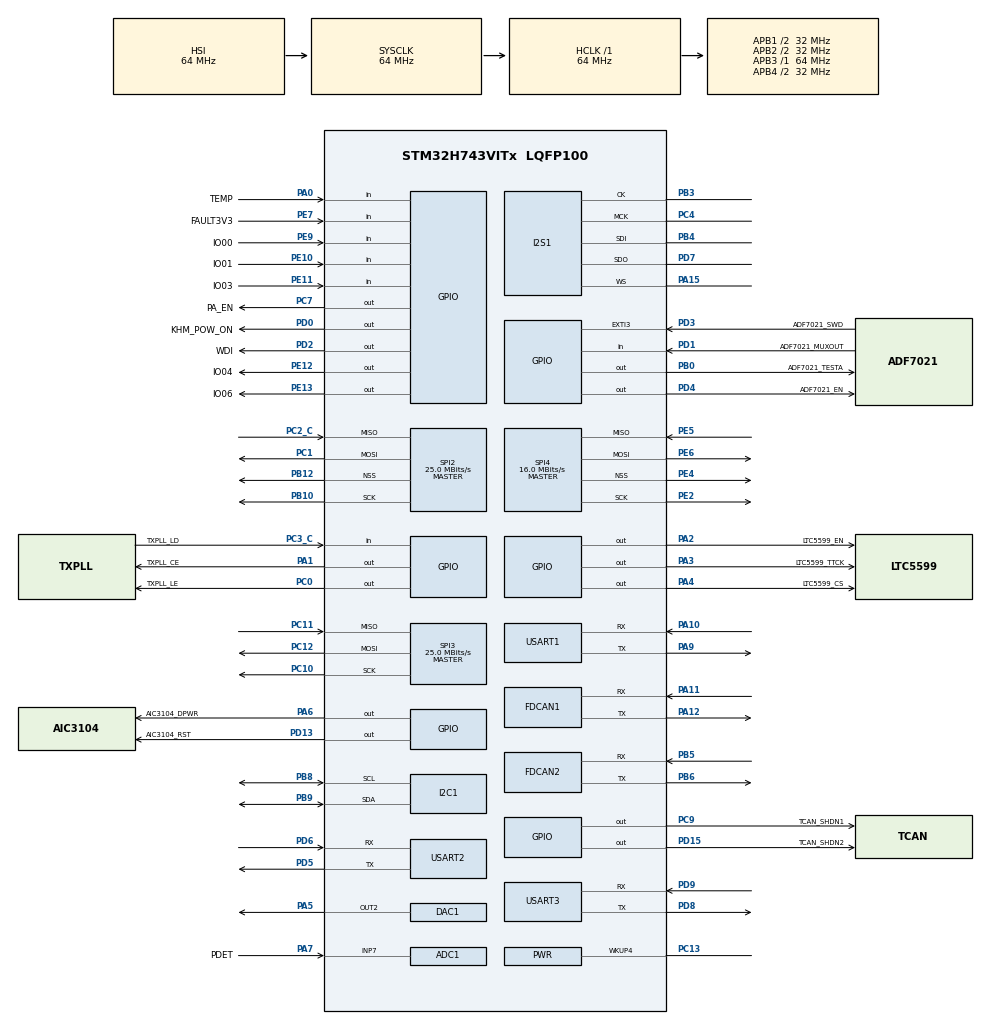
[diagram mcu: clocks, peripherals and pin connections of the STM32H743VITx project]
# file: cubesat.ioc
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ADC1.Channel-0\#ChannelRegularConversion=ADC_CHANNEL_7
ADC1.NbrOfConversionFlag=1
ADC1.OffsetNumber-0\#ChannelRegularConversion=ADC_OFFSET_NONE
ADC1.OffsetSignedSaturation-0\#ChannelRegularConversion=DISABLE
ADC1.Rank-0\#ChannelRegularConversion=1
ADC1.SamplingTime-0\#ChannelRegularConversion=ADC_SAMPLETIME_1CYCLE_5
ADC1.master=1
CORTEX_M7.default_mode_Activation=1
DAC1.DAC_Channel-DAC_OUT2=DAC_CHANNEL_2
FDCAN1.CalculateBaudRateNominal=1041666
FDCAN1.CalculateTimeBitNominal=960
FDCAN1.CalculateTimeQuantumNominal=320.0
FDCAN1.TxBuffersNbr=32
FDCAN2.CalculateBaudRateNominal=1041666
FDCAN2.CalculateTimeBitNominal=960
FDCAN2.CalculateTimeQuantumNominal=320.0
FDCAN2.MessageRAMOffset=128
FDCAN2.TxBuffersNbr=32
FREERTOS.Tasks01=defaultTask,0,128,StartDefaultTask,Default,NULL,Dynamic,NULL,NULL;watchdogTask,1,128,StartWatchdogTask,Default,NULL,Dynamic,NULL,NULL
I2C1.Timing=0x00707CBB
I2S1.AudioFreq=I2S_AUDIOFREQ_48K
I2S1.ErrorAudioFreq=1.72 %
I2S1.Instance=SPI$Index
I2S1.RealAudioFreq=48.828 KHz
Mcu.Family=STM32H7
Mcu.Name=STM32H743VITx
Mcu.Package=LQFP100
NVIC.PriorityGroup=NVIC_PRIORITYGROUP_4
NVIC.TIM1_UP_IRQn=true\:15\:0\:false\:false\:true\:false\:false\:true\:true
NVIC.TimeBase=TIM1_UP_IRQn
NVIC.TimeBaseIP=TIM1
PA0.GPIO_Label=TEMP
PA0.Signal=GPIO_Input
PA1.GPIO_Label=TXPLL_CE
PA1.PinState=GPIO_PIN_SET
PA1.Signal=GPIO_Output
PA10.Mode=Asynchronous
PA10.Signal=USART1_RX
PA11.Mode=FDCAN_Activate
PA11.Signal=FDCAN1_RX
PA12.Mode=FDCAN_Activate
PA12.Signal=FDCAN1_TX
PA13\ (JTMS/SWDIO).Mode=Serial_Wire
PA13\ (JTMS/SWDIO).Signal=DEBUG_JTMS-SWDIO
PA14\ (JTCK/SWCLK).Mode=Serial_Wire
PA14\ (JTCK/SWCLK).Signal=DEBUG_JTCK-SWCLK
PA15\ (JTDI).Mode=Full_Duplex_Master
PA15\ (JTDI).Signal=I2S1_WS
PA2.GPIO_Label=LTC5599_EN
PA2.PinState=GPIO_PIN_SET
PA2.Signal=GPIO_Output
PA3.GPIO_Label=LTC5599_TTCK
PA3.GPIO_Speed=GPIO_SPEED_FREQ_LOW
PA3.PinState=GPIO_PIN_SET
PA3.Signal=GPIO_Output
PA4.GPIO_Label=LTC5599_CS
PA4.PinState=GPIO_PIN_SET
PA4.Signal=GPIO_Output
PA5.Signal=COMP_DAC12_group
PA6.GPIO_Label=AIC3104_DPWR
PA6.PinState=GPIO_PIN_SET
PA6.Signal=GPIO_Output
PA7.GPIO_Label=PDET
PA7.Signal=ADCx_INP7
PA9.Mode=Asynchronous
PA9.Signal=USART1_TX
PB0.GPIO_Label=ADF7021_TESTA
PB0.GPIO_Speed=GPIO_SPEED_FREQ_LOW
PB0.PinState=GPIO_PIN_SET
PB0.Signal=GPIO_Output
PB10.Mode=Full_Duplex_Master
PB10.Signal=SPI2_SCK
PB12.Mode=NSS_Signal_Hard_Output
PB12.Signal=SPI2_NSS
PB3\ (JTDO/TRACESWO).Mode=Full_Duplex_Master
PB3\ (JTDO/TRACESWO).Signal=I2S1_CK
PB4\ (NJTRST).Mode=Full_Duplex_Master
PB4\ (NJTRST).Signal=I2S1_SDI
PB5.Mode=FDCAN_Activate
PB5.Signal=FDCAN2_RX
PB6.Mode=FDCAN_Activate
PB6.Signal=FDCAN2_TX
PB8.Mode=I2C
PB8.Signal=I2C1_SCL
PB9.Mode=I2C
PB9.Signal=I2C1_SDA
PC0.GPIO_Label=TXPLL_LE
PC0.Signal=GPIO_Output
PC1.Mode=Full_Duplex_Master
PC1.Signal=SPI2_MOSI
PC10.Mode=Full_Duplex_Master
PC10.Signal=SPI3_SCK
PC11.Mode=Full_Duplex_Master
PC11.Signal=SPI3_MISO
PC12.Mode=Full_Duplex_Master
PC12.Signal=SPI3_MOSI
PC13.Mode=WakeUp4
PC13.Signal=PWR_WKUP4
PC14-OSC32_IN\ (OSC32_IN).Mode=LSE-External-Clock-Source
PC14-OSC32_IN\ (OSC32_IN).Signal=RCC_OSC32_IN
PC2_C.Mode=Full_Duplex_Master
PC2_C.Signal=SPI2_MISO
PC3_C.GPIO_Label=TXPLL_LD
PC3_C.Signal=GPIO_Input
PC4.Mode=Master_Clock_Activated
PC4.Signal=I2S1_MCK
PC7.GPIO_Label=PA_EN
PC7.PinState=GPIO_PIN_SET
PC7.Signal=GPIO_Output
PC9.GPIO_Label=TCAN_SHDN1
PC9.PinState=GPIO_PIN_SET
PC9.Signal=GPIO_Output
PD0.GPIO_Label=KHM_POW_ON
PD0.PinState=GPIO_PIN_SET
PD0.Signal=GPIO_Output
PD1.GPIO_Label=ADF7021_MUXOUT
PD1.Signal=GPIO_Input
PD13.GPIO_Label=AIC3104_RST
PD13.PinState=GPIO_PIN_SET
PD13.Signal=GPIO_Output
PD15.GPIO_Label=TCAN_SHDN2
PD15.PinState=GPIO_PIN_SET
PD15.Signal=GPIO_Output
PD2.GPIO_Label=WDI
PD2.Signal=GPIO_Output
PD3.GPIO_Label=ADF7021_SWD
PD3.Signal=GPXTI3
PD4.GPIO_Label=ADF7021_EN
PD4.Signal=GPIO_Output
PD5.Mode=Asynchronous
PD5.Signal=USART2_TX
PD6.Mode=Asynchronous
PD6.Signal=USART2_RX
PD7.Mode=Full_Duplex_Master
PD7.Signal=I2S1_SDO
PD8.Mode=Asynchronous
PD8.Signal=USART3_TX
PD9.Mode=Asynchronous
PD9.Signal=USART3_RX
PE10.GPIO_Label=IO01
PE10.Signal=GPIO_Input
PE11.GPIO_Label=IO03
PE11.Signal=GPIO_Input
PE12.GPIO_Label=IO04
PE12.Signal=GPIO_Output
PE13.GPIO_Label=IO06
PE13.Signal=GPIO_Output
PE2.Mode=Full_Duplex_Master
PE2.Signal=SPI4_SCK
PE4.Mode=NSS_Signal_Hard_Output
PE4.Signal=SPI4_NSS
PE5.Mode=Full_Duplex_Master
PE5.Signal=SPI4_MISO
PE6.Mode=Full_Duplex_Master
PE6.Signal=SPI4_MOSI
PE7.GPIO_Label=FAULT3V3
PE7.Signal=GPIO_Input
PE9.GPIO_Label=IO00
PE9.Signal=GPIO_Input
PH0-OSC_IN\ (PH0).Mode=HSE-External-Clock-Source
PH0-OSC_IN\ (PH0).Signal=RCC_OSC_IN
ProjectManager.HeapSize=0x1000
ProjectManager.StackSize=0x1000
ProjectManager.TargetToolchain=CMake
RAMECC.Instance-RAMECC1_Monitor1=RAMECC1_Monitor1
RAMECC.Instance-RAMECC1_Monitor2=RAMECC1_Monitor2
RAMECC.Instance-RAMECC1_Monitor3=RAMECC1_Monitor3
RAMECC.Instance-RAMECC1_Monitor4=RAMECC1_Monitor4
RAMECC.Instance-RAMECC1_Monitor5=RAMECC1_Monitor5
RAMECC.Instance-RAMECC2_Monitor1=RAMECC2_Monitor1
RAMECC.Instance-RAMECC2_Monitor2=RAMECC2_Monitor2
RAMECC.Instance-RAMECC2_Monitor3=RAMECC2_Monitor3
RAMECC.Instance-RAMECC2_Monitor4=RAMECC2_Monitor4
RAMECC.Instance-RAMECC2_Monitor5=RAMECC2_Monitor5
RAMECC.Instance-RAMECC3_Monitor1=RAMECC3_Monitor1
RAMECC.Instance-RAMECC3_Monitor2=RAMECC3_Monitor2
RCC.ADCFreq_Value=80000000
RCC.APB1Freq_Value=32000000
RCC.APB2Freq_Value=32000000
RCC.APB3Freq_Value=64000000
RCC.APB4Freq_Value=32000000
RCC.CortexFreq_Value=64000000
RCC.D2PPRE1=RCC_APB1_DIV2
RCC.D2PPRE2=RCC_APB2_DIV2
RCC.D3PPRE=RCC_APB4_DIV2
RCC.DIVM1=4
RCC.DIVM2=4
RCC.DIVN1=9
RCC.DIVN2=10
RCC.DIVQ1=3
RCC.HCLKFreq_Value=64000000
RCC.PLL2FRACN=0
RCC.PLL3FRACN=0
RCC.PLLFRACN=3072
RCC.SYSCLKFreq_VALUE=64000000
RCC.USBFreq_Value=50000000
SH.ADCx_INP7.0=ADC1_INP7,IN7-Single-Ended
SH.COMP_DAC12_group.0=DAC1_OUT2,DAC_OUT2
SPI2.CalculateBaudRate=25.0 MBits/s
SPI2.DataSize=SPI_DATASIZE_8BIT
SPI2.Direction=SPI_DIRECTION_2LINES
SPI2.Mode=SPI_MODE_MASTER
SPI2.VirtualNSS=VM_NSSHARD
SPI2.VirtualType=VM_MASTER
SPI3.CalculateBaudRate=25.0 MBits/s
SPI3.DataSize=SPI_DATASIZE_8BIT
SPI3.Direction=SPI_DIRECTION_2LINES
SPI3.Mode=SPI_MODE_MASTER
SPI3.VirtualNSS=VM_NSS
SPI3.VirtualType=VM_MASTER
SPI4.CalculateBaudRate=16.0 MBits/s
SPI4.DataSize=SPI_DATASIZE_8BIT
SPI4.Direction=SPI_DIRECTION_2LINES
SPI4.Mode=SPI_MODE_MASTER
SPI4.VirtualNSS=VM_NSSHARD
SPI4.VirtualType=VM_MASTER
USART1.AdvancedParams=AdvFeatureInit,SwapParam
USART1.VirtualMode-Asynchronous=VM_ASYNC
USART2.VirtualMode-Asynchronous=VM_ASYNC
USART3.VirtualMode-Asynchronous=VM_ASYNC
VP_FREERTOS_VS_CMSIS_V1.Mode=CMSIS_V1
VP_IWDG1_VS_IWDG.Mode=IWDG_Activate
VP_MEMORYMAP_VS_MEMORYMAP.Mode=CurAppReg
VP_RAMECC_VS_D1_1.Mode=RAMECC1_Monitor1
VP_RAMECC_VS_D1_2.Mode=RAMECC1_Monitor2
VP_RAMECC_VS_D1_3.Mode=RAMECC1_Monitor3
VP_RAMECC_VS_D1_4.Mode=RAMECC1_Monitor4
VP_RAMECC_VS_D1_5.Mode=RAMECC1_Monitor5
VP_RAMECC_VS_D2_1.Mode=RAMECC2_Monitor1
VP_RAMECC_VS_D2_2.Mode=RAMECC2_Monitor2
VP_RAMECC_VS_D2_3.Mode=RAMECC2_Monitor3
VP_RAMECC_VS_D2_4.Mode=RAMECC2_Monitor4
VP_RAMECC_VS_D2_5.Mode=RAMECC2_Monitor5
VP_RAMECC_VS_D3_1.Mode=RAMECC3_Monitor1
VP_RAMECC_VS_D3_2.Mode=RAMECC3_Monitor2
VP_SYS_VS_tim1.Mode=TIM1
board=custom

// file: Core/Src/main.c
/* USER CODE BEGIN Header */
/**
  ******************************************************************************
  * @file           : main.c
  * @brief          : Main program body
  ******************************************************************************
  * @attention
  *
  * Copyright (c) 2026 STMicroelectronics.
  * All rights reserved.
  *
  * This software is licensed under terms that can be found in the LICENSE file
  * in the root directory of this software component.
  * If no LICENSE file comes with this software, it is provided AS-IS.
  *
  ******************************************************************************
  */
/* USER CODE END Header */
#include "main.h"
#include "cmsis_os.h"
#include "adc.h"
#include "dac.h"
#include "fdcan.h"
#include "i2c.h"
#include "i2s.h"
#include "iwdg.h"
#include "ramecc.h"
#include "spi.h"
#include "usart.h"
#include "gpio.h"

void SystemClock_Config(void);
static void MPU_Config(void);
void MX_FREERTOS_Init(void);

/* USER CODE BEGIN 0 */

int __io_putchar(int ch)
{
  uint8_t c = (uint8_t)ch;

  if (ch == '\n') {
    uint8_t cr = '\r';
    (void)HAL_UART_Transmit(&huart1, &cr, 1U, 100U);
  }

  (void)HAL_UART_Transmit(&huart1, &c, 1U, 100U);
  return ch;
}

/* USER CODE END 0 */

int main(void)
{

  /* MPU Configuration--------------------------------------------------------*/
  MPU_Config();

  /* MCU Configuration--------------------------------------------------------*/

  /* Reset of all peripherals, Initializes the Flash interface and the Systick. */
  HAL_Init();

  /* Configure the system clock */
  SystemClock_Config();

  /* Initialize all configured peripherals */
  MX_GPIO_Init();
  MX_FDCAN1_Init();
  MX_I2S1_Init();
  MX_SPI4_Init();
  MX_SPI2_Init();
  MX_SPI3_Init();
  MX_DAC1_Init();
  MX_I2C1_Init();
  MX_IWDG1_Init();
  MX_USART1_UART_Init();
  MX_USART2_UART_Init();
  MX_USART3_UART_Init();
  MX_RAMECC_Init();
  MX_ADC1_Init();
  MX_FDCAN2_Init();

  /* Call init function for freertos objects (in cmsis_os2.c) */
  MX_FREERTOS_Init();

  /* Start scheduler */
  osKernelStart();

  /* We should never get here as control is now taken by the scheduler */

  /* Infinite loop */
  while (1)
  {

  }
}

void SystemClock_Config(void)
{
  RCC_OscInitTypeDef RCC_OscInitStruct = {0};
  RCC_ClkInitTypeDef RCC_ClkInitStruct = {0};

  /** Supply configuration update enable
  */
  HAL_PWREx_ConfigSupply(PWR_LDO_SUPPLY);

  /** Configure the main internal regulator output voltage
  */
  __HAL_PWR_VOLTAGESCALING_CONFIG(PWR_REGULATOR_VOLTAGE_SCALE3);

  while(!__HAL_PWR_GET_FLAG(PWR_FLAG_VOSRDY)) {}

  /** Initializes the RCC Oscillators according to the specified parameters
  * in the RCC_OscInitTypeDef structure.
  */
  RCC_OscInitStruct.OscillatorType = RCC_OSCILLATORTYPE_HSI|RCC_OSCILLATORTYPE_LSI;
  RCC_OscInitStruct.HSIState = RCC_HSI_DIV1;
  RCC_OscInitStruct.HSICalibrationValue = RCC_HSICALIBRATION_DEFAULT;
  RCC_OscInitStruct.LSIState = RCC_LSI_ON;
  RCC_OscInitStruct.PLL.PLLState = RCC_PLL_ON;
  RCC_OscInitStruct.PLL.PLLSource = RCC_PLLSOURCE_HSI;
  RCC_OscInitStruct.PLL.PLLM = 4;
  RCC_OscInitStruct.PLL.PLLN = 9;
  RCC_OscInitStruct.PLL.PLLP = 2;
  RCC_OscInitStruct.PLL.PLLQ = 3;
  RCC_OscInitStruct.PLL.PLLR = 2;
  RCC_OscInitStruct.PLL.PLLRGE = RCC_PLL1VCIRANGE_3;
  RCC_OscInitStruct.PLL.PLLVCOSEL = RCC_PLL1VCOMEDIUM;
  RCC_OscInitStruct.PLL.PLLFRACN = 3072;
  if (HAL_RCC_OscConfig(&RCC_OscInitStruct) != HAL_OK)
  {
    Error_Handler();
  }

  /** Initializes the CPU, AHB and APB buses clocks
  */
  RCC_ClkInitStruct.ClockType = RCC_CLOCKTYPE_HCLK|RCC_CLOCKTYPE_SYSCLK
                              |RCC_CLOCKTYPE_PCLK1|RCC_CLOCKTYPE_PCLK2
                              |RCC_CLOCKTYPE_D3PCLK1|RCC_CLOCKTYPE_D1PCLK1;
  RCC_ClkInitStruct.SYSCLKSource = RCC_SYSCLKSOURCE_HSI;
  RCC_ClkInitStruct.SYSCLKDivider = RCC_SYSCLK_DIV1;
  RCC_ClkInitStruct.AHBCLKDivider = RCC_HCLK_DIV1;
  RCC_ClkInitStruct.APB3CLKDivider = RCC_APB3_DIV1;
  RCC_ClkInitStruct.APB1CLKDivider = RCC_APB1_DIV2;
  RCC_ClkInitStruct.APB2CLKDivider = RCC_APB2_DIV2;
  RCC_ClkInitStruct.APB4CLKDivider = RCC_APB4_DIV2;

  if (HAL_RCC_ClockConfig(&RCC_ClkInitStruct, FLASH_LATENCY_1) != HAL_OK)
  {
    Error_Handler();
  }
}

 /* MPU Configuration */

void MPU_Config(void)
{
  MPU_Region_InitTypeDef MPU_InitStruct = {0};

  /* Disables the MPU */
  HAL_MPU_Disable();

  /** Initializes and configures the Region and the memory to be protected
  */
  MPU_InitStruct.Enable = MPU_REGION_ENABLE;
  MPU_InitStruct.Number = MPU_REGION_NUMBER0;
  MPU_InitStruct.BaseAddress = 0x0;
  MPU_InitStruct.Size = MPU_REGION_SIZE_4GB;
  MPU_InitStruct.SubRegionDisable = 0x87;
  MPU_InitStruct.TypeExtField = MPU_TEX_LEVEL0;
  MPU_InitStruct.AccessPermission = MPU_REGION_NO_ACCESS;
  MPU_InitStruct.DisableExec = MPU_INSTRUCTION_ACCESS_DISABLE;
  MPU_InitStruct.IsShareable = MPU_ACCESS_SHAREABLE;
  MPU_InitStruct.IsCacheable = MPU_ACCESS_NOT_CACHEABLE;
  MPU_InitStruct.IsBufferable = MPU_ACCESS_NOT_BUFFERABLE;

  HAL_MPU_ConfigRegion(&MPU_InitStruct);
  /* Enables the MPU */
  HAL_MPU_Enable(MPU_PRIVILEGED_DEFAULT);

}

void HAL_TIM_PeriodElapsedCallback(TIM_HandleTypeDef *htim)
{
  if (htim->Instance == TIM1)
  {
    HAL_IncTick();
  }
}

void Error_Handler(void)
{
  __disable_irq();
  while (1)
  {
  }
}

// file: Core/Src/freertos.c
/* USER CODE BEGIN Header */
/**
  ******************************************************************************
  * File Name          : freertos.c
  * Description        : Code for freertos applications
  ******************************************************************************
  * @attention
  *
  * Copyright (c) 2026 STMicroelectronics.
  * All rights reserved.
  *
  * This software is licensed under terms that can be found in the LICENSE file
  * in the root directory of this software component.
  * If no LICENSE file comes with this software, it is provided AS-IS.
  *
  ******************************************************************************
  */
/* USER CODE END Header */

#include "FreeRTOS.h"
#include "task.h"
#include "main.h"
#include "cmsis_os.h"

/* USER CODE BEGIN Includes */
#include <stdio.h>
#include <stdarg.h>

#include "ADF4360.h"
#include "adf7021.h"
#include "aic3104.h"
#include "i2c.h"
#include "i2s.h"
#include "iwdg.h"
#include "ltc5599.h"
#include "spi.h"
#include "source.h"
#include "usart.h"

/* USER CODE END Includes */

/* USER CODE BEGIN Variables */
#define AUDIO_SAMPLE_RATE_HZ      48000.0f
/* Choose frame length N so N*f/Fs is integer for seamless loop */
/* eg: Fs=48k, N=240 and f=1k gives 5 integer cycles per frame */
#define AUDIO_FRAME_SAMPLES       240U

static AIC3104_Config_t g_aic3104_cfg;
static ADF7021_Config_t g_adf7021_cfg;
static LTC5599_Config_t g_ltc5599_cfg;
static float g_iq_audio_buffer[AUDIO_FRAME_SAMPLES * 2U];
__attribute__((section(".dma_buffer"), aligned(32)))
static int16_t g_i2s_tx_stereo[AUDIO_FRAME_SAMPLES * 2U];

/* USER CODE END Variables */
osThreadId defaultTaskHandle;
osThreadId watchdogTaskHandle;

/* USER CODE BEGIN FunctionPrototypes */
static void PrepareIqAudioFrame(void);
static void DumpAic3104Regs(void);
static void RunRfSmokeTest(void);
static void UartPrintf(const char *fmt, ...);

/* USER CODE END FunctionPrototypes */

void StartDefaultTask(void const * argument);
void StartWatchdogTask(void const * argument);

void MX_FREERTOS_Init(void); /* (MISRA C 2004 rule 8.1) */

/* GetIdleTaskMemory prototype (linked to static allocation support) */
void vApplicationGetIdleTaskMemory( StaticTask_t **ppxIdleTaskTCBBuffer, StackType_t **ppxIdleTaskStackBuffer, uint32_t *pulIdleTaskStackSize );

/* USER CODE BEGIN GET_IDLE_TASK_MEMORY */
static StaticTask_t xIdleTaskTCBBuffer;
static StackType_t xIdleStack[configMINIMAL_STACK_SIZE];

void vApplicationGetIdleTaskMemory( StaticTask_t **ppxIdleTaskTCBBuffer, StackType_t **ppxIdleTaskStackBuffer, uint32_t *pulIdleTaskStackSize )
{
  *ppxIdleTaskTCBBuffer = &xIdleTaskTCBBuffer;
  *ppxIdleTaskStackBuffer = &xIdleStack[0];
  *pulIdleTaskStackSize = configMINIMAL_STACK_SIZE;
  /* place for user code */
}
/* USER CODE END GET_IDLE_TASK_MEMORY */

void MX_FREERTOS_Init(void) {

  /* Create the thread(s) */
  /* definition and creation of defaultTask */
  osThreadDef(defaultTask, StartDefaultTask, osPriorityNormal, 0, 128);
  defaultTaskHandle = osThreadCreate(osThread(defaultTask), NULL);

  /* definition and creation of watchdogTask */
  osThreadDef(watchdogTask, StartWatchdogTask, osPriorityAboveNormal, 0, 128);
  watchdogTaskHandle = osThreadCreate(osThread(watchdogTask), NULL);

}

void StartDefaultTask(void const * argument)
{
  /* USER CODE BEGIN StartDefaultTask */
  (void)argument;
  printf("printf via UART1 is ready\r\n");
  RunRfSmokeTest();

  /* Initialize ADF7021 transceiver before codec setup */
  ADF7021_DefaultConfig(&g_adf7021_cfg, &hspi2);
  g_adf7021_cfg.ce_port = ADF7021_EN_GPIO_Port;
  g_adf7021_cfg.ce_pin = ADF7021_EN_Pin;
  g_adf7021_cfg.rx_freq_hz = 145000000UL;
  g_adf7021_cfg.tx_freq_hz = 436500000UL;

  if (ADF7021_Init(&g_adf7021_cfg) != HAL_OK) {
    Error_Handler();
  }

  /* Initialize AIC3104 codec */
  AIC3104_DefaultConfig(&g_aic3104_cfg, &hi2c1);
  g_aic3104_cfg.hi2s = &hi2s1;
  g_aic3104_cfg.reset_port = AIC3104_RST_GPIO_Port;
  g_aic3104_cfg.reset_pin = AIC3104_RST_Pin;
  g_aic3104_cfg.sample_rate = AIC3104_FS_48K;
  g_aic3104_cfg.i2s_mode = AIC3104_MODE_SLAVE;
  g_aic3104_cfg.enable_adc = false;
  g_aic3104_cfg.enable_dac = true;
  g_aic3104_cfg.enable_hp = true;
  g_aic3104_cfg.enable_lineout = true;
  g_aic3104_cfg.enable_hpcom = true;
  g_aic3104_cfg.output_common_mode = 0U;

  if (AIC3104_Init(&g_aic3104_cfg) != HAL_OK) {
    Error_Handler();
  }

  DumpAic3104Regs();
  PrepareIqAudioFrame();

  if (HAL_I2S_Transmit_DMA(&hi2s1, (uint16_t *)g_i2s_tx_stereo, AUDIO_FRAME_SAMPLES * 2U) != HAL_OK) {
    Error_Handler();
  }

  /* Infinite loop */
  for(;;)
  {
    osDelay(1000U);
  }
  /* USER CODE END StartDefaultTask */
}

void StartWatchdogTask(void const * argument)
{
  /* USER CODE BEGIN StartWatchdogTask */
  (void)argument;

  for(;;)
  {
    HAL_GPIO_TogglePin(WDI_GPIO_Port, WDI_Pin);
    HAL_IWDG_Refresh(&hiwdg1);
    osDelay(100U);
  }
  /* USER CODE END StartWatchdogTask */
}

/* USER CODE BEGIN Application */
static void PrepareIqAudioFrame(void)
{
  uint32_t i;

  sine_source(g_iq_audio_buffer,
              AUDIO_FRAME_SAMPLES,
              1000.0f,
              AUDIO_SAMPLE_RATE_HZ,
              0.8f);

  for (i = 0U; i < AUDIO_FRAME_SAMPLES; i++) {
    int16_t sample_i = (int16_t)(g_iq_audio_buffer[2U * i] * 32767.0f);
    int16_t sample_q = (int16_t)(g_iq_audio_buffer[(2U * i) + 1U] * 32767.0f);
    g_i2s_tx_stereo[(2U * i)] = sample_i;
    g_i2s_tx_stereo[(2U * i) + 1U] = sample_q;
  }
}

static void DumpAic3104Regs(void)
{
  const uint8_t regs[] = {
    AIC3104_REG_HPOUT_SC,
    AIC3104_REG_DAC_PWR,
    AIC3104_REG_DACL1_TO_LLOPM,
    AIC3104_REG_DACR1_TO_RLOPM,
    AIC3104_REG_LLOPM_CTRL,
    AIC3104_REG_RLOPM_CTRL
  };
  char msg[64];

  for (uint32_t i = 0U; i < (uint32_t)(sizeof(regs) / sizeof(regs[0])); i++) {
    uint8_t value = 0U;
    int len;

    if (AIC3104_ReadReg(&g_aic3104_cfg, regs[i], &value) == HAL_OK) {
      len = snprintf(msg, sizeof(msg), "AIC3104 R0x%02X = 0x%02X\r\n", regs[i], value);
    } else {
      len = snprintf(msg, sizeof(msg), "AIC3104 R0x%02X read fail\r\n", regs[i]);
    }

    if (len > 0) {
      uint16_t tx_len = (len < (int)sizeof(msg)) ? (uint16_t)len : (uint16_t)(sizeof(msg) - 1U);
      (void)HAL_UART_Transmit(&huart1, (uint8_t *)msg, tx_len, 100U);
    }
  }
}

static void RunRfSmokeTest(void)
{
  uint64_t actual_hz = 0ULL;
  uint8_t reg0 = 0U;

  HAL_GPIO_WritePin(TXPLL_CE_GPIO_Port, TXPLL_CE_Pin, GPIO_PIN_SET);

  if (ADF4360_Init(ADF4360_7)) {
    actual_hz = ADF4360_SetFrequency(436500000ULL);
    UartPrintf("ADF4360-7 set %lu Hz, LD=%u\r\n",
               (unsigned long)actual_hz,
               (unsigned int)ADF4360_DefaultLockDetect());
  } else {
    UartPrintf("ADF4360-7 init fail\r\n");
  }

  LTC5599_DefaultConfig(&g_ltc5599_cfg, &hspi3);
  g_ltc5599_cfg.cs_port = LTC5599_CS_GPIO_Port;
  g_ltc5599_cfg.cs_pin = LTC5599_CS_Pin;

  if (LTC5599_Probe(&g_ltc5599_cfg, &reg0) == HAL_OK) {
    UartPrintf("LTC5599 reg0 = 0x%02X\r\n", reg0);
  } else {
    UartPrintf("LTC5599 probe fail\r\n");
  }
}

static void UartPrintf(const char *fmt, ...)
{
  char msg[96];
  va_list ap;
  int len;

  va_start(ap, fmt);
  len = vsnprintf(msg, sizeof(msg), fmt, ap);
  va_end(ap);

  if (len > 0) {
    uint16_t tx_len = (len < (int)sizeof(msg)) ? (uint16_t)len : (uint16_t)(sizeof(msg) - 1U);
    (void)HAL_UART_Transmit(&huart1, (uint8_t *)msg, tx_len, 100U);
  }
}

/* USER CODE END Application */
